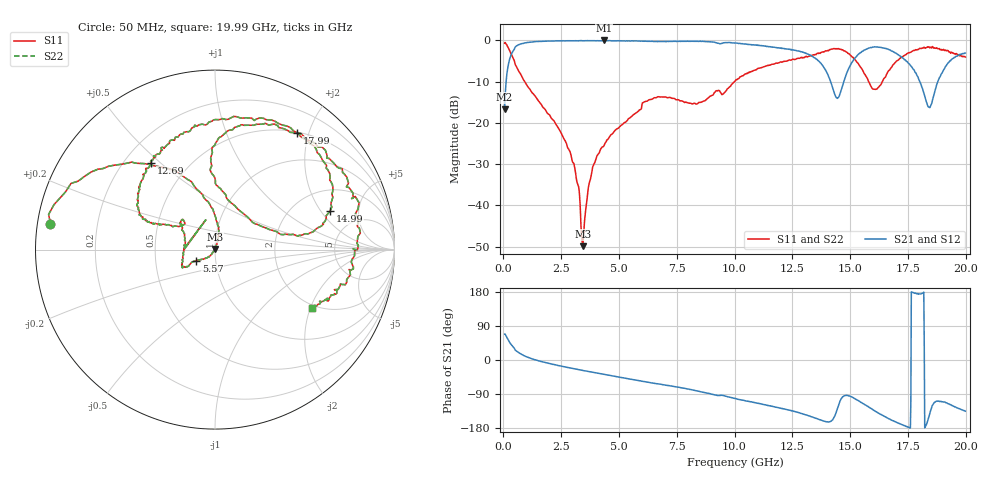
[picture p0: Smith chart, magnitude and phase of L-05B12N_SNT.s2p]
! Data Taken on a HP 8720C VNA using a shunt-through fixture with TRL* de-embedding
#	mhz	s	ma	r	50
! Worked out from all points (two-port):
!   998 points, 50 MHz to 19.99 GHz, reference 50 ohm
!   highest |S21| = 0.01 dB at 4.35 GHz (marker M1); lowest = -16.7 dB at 50 MHz (marker M2)
!   |S21| within 3 dB of the highest: 372.5 MHz to 13.04 GHz (12.67 GHz wide, 189 % of centre); 15.44 GHz to 16.95 GHz (1.508 GHz wide, 9.32 % of centre)
!   lowest |S11| = -49.9 dB at 3.43 GHz (marker M3), VSWR 1.01, Z = 49.8 + j0.279 ohm
!   |S11| at or under -10 dB: 923.3 MHz to 9.996 GHz (9.072 GHz wide, 166 % of centre); 15.81 GHz to 16.4 GHz (590.4 MHz wide, 3.67 % of centre)
!   |S22| runs from -49.9 to -0.5 dB; largest |S21 - S12| = 0
!   S11 on the Smith chart (normalised r, x): 50 MHz: 0.04, +0.08; 5.57 GHz: 0.80, -0.10; 12.69 GHz: 0.31, +0.47; 14.99 GHz: 3.09, +2.47; 17.99 GHz: 0.51, +1.81; 19.99 GHz: 1.90, -2.05
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50  0.928 171.1  0.1465 68.4  0.1465 68.4  0.928 171.1
310  0.7055 137.6  0.6441 42.6  0.6441 42.6  0.7055 137.6
850  0.3388 105.4  0.9203 12.8  0.9203 12.8  0.3388 105.4
2850  0.04631 70.9  0.9937 -20.7  0.9937 -20.7  0.04631 70.9
3210  0.01823 67.1  0.9911 -24.7  0.9911 -24.7  0.01823 67.1
3390  0.00405 94.8  0.9933 -26.9  0.9933 -26.9  0.00405 94.8
3430  0.0032 119.2  0.9924 -27.5  0.9924 -27.5  0.0032 119.2
3810  0.02405 -128.5  0.9942 -31.7  0.9942 -31.7  0.02405 -128.5
4350  0.05302 -132.5  1.001 -38.2  1.001 -38.2  0.05302 -132.5
5570  0.1216 -149.7  0.9925 -51.2  0.9925 -51.2  0.1216 -149.7
6710  0.2079 -151.1  0.9716 -63.1  0.9716 -63.1  0.2079 -151.1
10030  0.3237 154.0  0.9309 -101.7  0.9309 -101.7  0.3237 154.0
12690  0.6027 126.4  0.75 -137.6  0.75 -137.6  0.6027 126.4
13350  0.6637 109.4  0.6483 -150.2  0.6483 -150.2  0.6637 109.4
14450  0.7911 48.1  0.1985 -128.4  0.1985 -128.4  0.7911 48.1
14990  0.6768 18.6  0.4898 -95.4  0.4898 -95.4  0.6768 18.6
16030  0.2571 42.2  0.8355 -132.6  0.8355 -132.6  0.2571 42.2
16670  0.4314 92.9  0.7776 -155.0  0.7776 -155.0  0.4314 92.9
17990  0.7945 55.0  0.3306 174.4  0.3306 174.4  0.7945 55.0
18450  0.8112 25.5  0.153 -141.4  0.153 -141.4  0.8112 25.5
19130  0.7678 -10.6  0.4853 -112.1  0.4853 -112.1  0.7678 -10.6
19990  0.6301 -31.1  0.703 -135.1  0.703 -135.1  0.6301 -31.1
